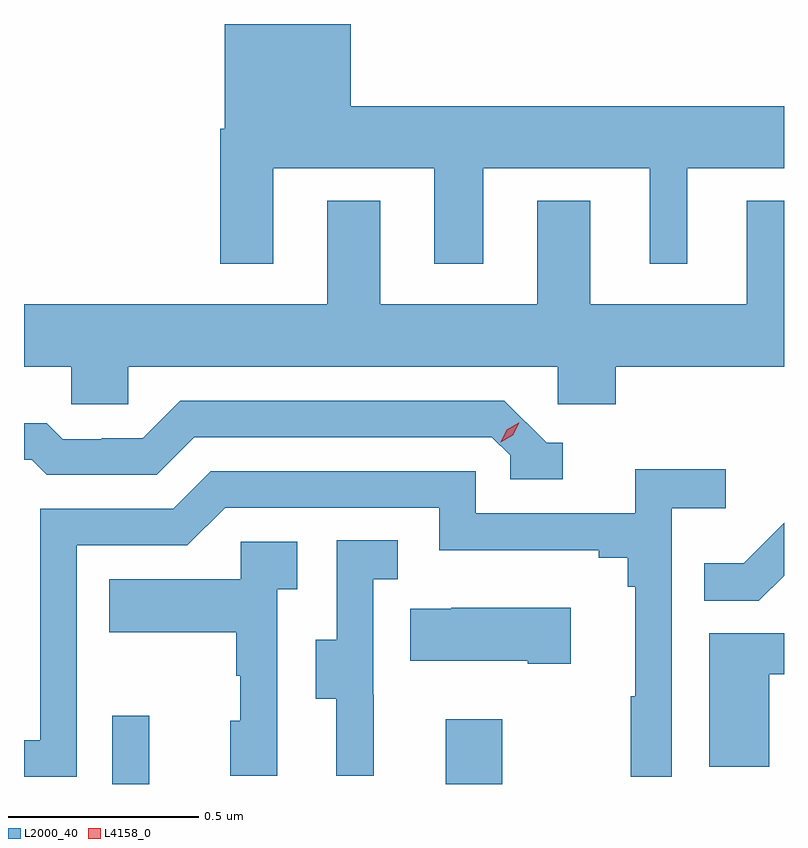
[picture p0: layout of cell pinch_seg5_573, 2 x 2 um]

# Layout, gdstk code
import gdstk
lib = gdstk.Library(unit=1e-6, precision=1e-09)
def R(c, l, rs):  # rectangles x0, y0, x1, y1
    for r in rs: c.add(gdstk.rectangle(r[:2], r[2:], *l))
def P(c, l, *ps):  # polygons
    for p in ps: c.add(gdstk.Polygon(p, *l))
L2000_40 = (2000, 40)
L4158_0 = (4158, 0)

pinch_seg5_573 = lib.new_cell('pinch_seg5_573')
R(pinch_seg5_573, L2000_40, [(1109.493,870.314,1109.591,870.493), (1110.371,870.314,1110.519,870.484)])
P(pinch_seg5_573, L2000_40, [(1109.917,871.934),(1110.341,871.934),(1110.341,871.683),(1110.469,871.683),(1110.469,871.934),(1110.908,871.934),(1110.908,871.683),(1111.006,871.683),(1111.006,871.934),(1111.261,871.934),(1111.261,872.098),(1110.121,872.098),(1110.121,872.314),(1109.789,872.314),(1109.789,872.038),(1109.777,872.038),(1109.777,871.683),(1109.917,871.683)],
  [(1109.535,871.412),(1110.666,871.412),(1110.666,871.314),(1110.818,871.314),(1110.818,871.412),(1111.261,871.412),(1111.261,871.849),(1111.163,871.849),(1111.163,871.576),(1110.751,871.576),(1110.751,871.849),(1110.611,871.849),(1110.611,871.576),(1110.199,871.576),(1110.199,871.849),(1110.059,871.849),(1110.059,871.576),(1109.261,871.576),(1109.261,871.412),(1109.385,871.412),(1109.385,871.314),(1109.535,871.314)],
  [(1110.679,871.212),(1110.636,871.212),(1110.525,871.323),(1109.672,871.323),(1109.573,871.224),(1109.466,871.224),(1109.466,871.221),(1109.363,871.221),(1109.321,871.264),(1109.261,871.264),(1109.261,871.167),(1109.282,871.167),(1109.321,871.128),(1109.61,871.128),(1109.709,871.227),(1110.492,871.227),(1110.54,871.179),(1110.54,871.116),(1110.679,871.116)],
  [(1109.4,870.942),(1109.691,870.942),(1109.79,871.041),(1110.354,871.041),(1110.354,870.929),(1110.773,870.929),(1110.773,870.91),(1110.85,870.91),(1110.85,870.833),(1110.869,870.833),(1110.869,870.545),(1110.858,870.545),(1110.858,870.333),(1110.966,870.333),(1110.966,871.04),(1111.108,871.04),(1111.108,871.142),(1110.869,871.142),(1110.869,871.026),(1110.45,871.026),(1110.45,871.137),(1109.753,871.137),(1109.654,871.038),(1109.304,871.038),(1109.304,870.429),(1109.261,870.429),(1109.261,870.333),(1109.4,870.333)],
  [(1111.261,870.862),(1111.261,871.001),(1111.155,870.895),(1111.051,870.895),(1111.051,870.796),(1111.195,870.796)],
  [(1110.182,870.549),(1110.18,870.549),(1110.18,870.853),(1110.244,870.853),(1110.244,870.956),(1110.084,870.956),(1110.084,870.693),(1110.029,870.693),(1110.029,870.538),(1110.083,870.538),(1110.083,870.336),(1110.182,870.336)],
  [(1109.928,870.827),(1109.98,870.827),(1109.98,870.951),(1109.832,870.951),(1109.832,870.853),(1109.485,870.853),(1109.485,870.713),(1109.82,870.713),(1109.82,870.599),(1109.83,870.599),(1109.83,870.48),(1109.804,870.48),(1109.804,870.336),(1109.928,870.336)],
  [(1110.7,870.778),(1110.385,870.778),(1110.385,870.775),(1110.277,870.775),(1110.277,870.638),(1110.587,870.638),(1110.587,870.631),(1110.7,870.631)],
  [(1111.222,870.603),(1111.261,870.603),(1111.261,870.711),(1111.064,870.711),(1111.064,870.36),(1111.222,870.36)])
P(pinch_seg5_573, L4158_0, [(1110.516,871.213),(1110.516,871.214),(1110.532,871.246),(1110.563,871.265),(1110.564,871.265),(1110.564,871.265),(1110.547,871.232),(1110.516,871.213)])

lib.write_gds('pinch_seg5_573.gds')
